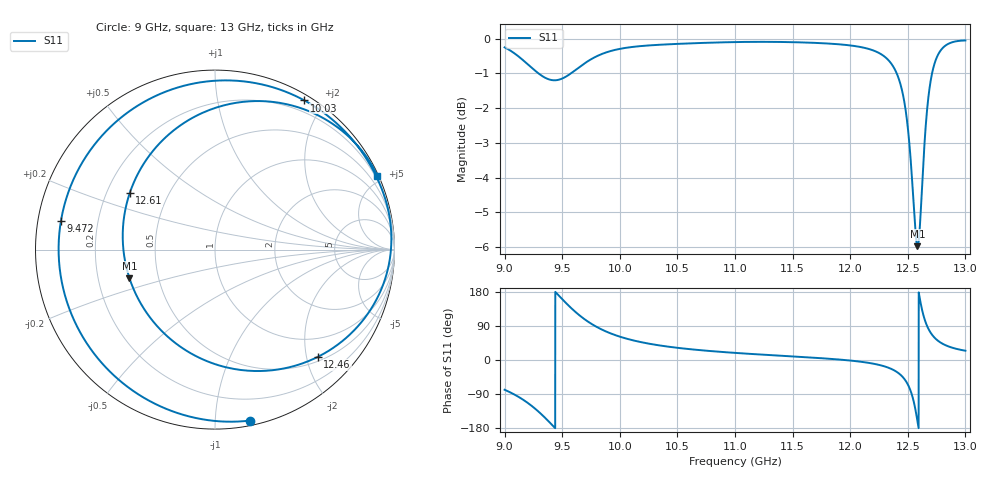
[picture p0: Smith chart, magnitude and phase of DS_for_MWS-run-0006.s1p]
! TOUCHSTONE file generated by CST DESIGN STUDIO
! Date and time: Tue Feb  4 12:42:30 2025
! Project name: C:\Work\MatlabApps\UnitCellOptimizationMatlab\CST\unitcell.cst
! Tree item: Tasks\Sweep1\SPara1\S-Parameters
! Header version: 2024
! Port assignment regex: !\s*Touchstone port\s*([0-9]+)\s*=\s*(CST MWS port|CST DES external port|CST DES block port)\s*(.+)\s* \(\"(.*)\"\)(\s*mode\s*([0-9]+))?.*
! Touchstone port assignment:
! Touchstone port 1 = CST DES external port 1 ("")
# GHz S MA R 50
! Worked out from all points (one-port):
!   4001 points, 9 GHz to 13 GHz, reference 50 ohm
!   lowest |S11| = -6.0 dB at 12.58 GHz (marker M1), VSWR 3.02, Z = 16.9 - j7.22 ohm
!   |S11| at or under -10 dB: nowhere
!   S11 on the Smith chart (normalised r, x): 9 GHz: 0.04, -1.22; 9.472 GHz: 0.07, +0.09; 10.03 GHz: 0.06, +1.76; 12.46 GHz: 0.58, -2.21; 12.61 GHz: 0.30, +0.28; 13 GHz: 0.06, +4.60
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9  0.972 -78.5
9.134  0.9393 -99.7
9.244  0.9058 -123.2
9.371  0.8757 -158.5
9.472  0.8731 169.5
9.5  0.8764 160.5
9.604  0.8987 129.7
9.706  0.9245 105.0
9.851  0.9518 79.3
10  0.9671 61.6
10.027  0.9689 59.1
10.5  0.9833 32.1
11  0.9892 18.8
11.5  0.9889 9.4
12  0.9782 -1.4
12.319  0.9362 -18.9
12.401  0.8937 -30.8
12.46  0.8277 -46.2
12.5  0.7451 -64.4
12.545  0.5976 -101.8
12.584  0.5025 -161.5
12.614  0.5701 146.4
12.642  0.6937 111.3
12.671  0.8014 87.3
12.714  0.8971 65.3
12.762  0.9482 50.8
12.855  0.9841 35.6
13  0.9945 24.5
